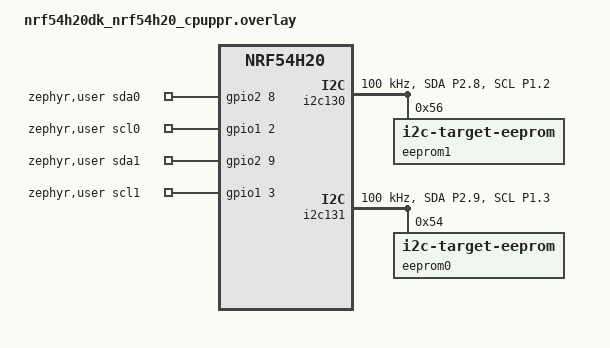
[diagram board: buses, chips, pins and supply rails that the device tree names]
/*
 * Copyright (c) 2025 Nordic Semiconductor ASA
 *
 * SPDX-License-Identifier: Apache-2.0
 */

/*
 * SDA = P2.8 and P2.9
 * SCL = P1.2 and P1.3
 */

/ {
	zephyr,user {
		sda0-gpios = <&gpio2 8 0>;
		scl0-gpios = <&gpio1 2 0>;
		sda1-gpios = <&gpio2 9 0>;
		scl1-gpios = <&gpio1 3 0>;
	};
};

&gpio1 {
	status = "okay";
};

&gpio2 {
	status = "okay";
};

&pinctrl {
	i2c130_default: i2c130_default {
		group1 {
			psels = <NRF_PSEL(TWIM_SDA, 2, 8)>,
				<NRF_PSEL(TWIM_SCL, 1, 2)>;
			bias-pull-up;
		};
	};

	i2c130_sleep: i2c130_sleep {
		group1 {
			psels = <NRF_PSEL(TWIM_SDA, 2, 8)>,
				<NRF_PSEL(TWIM_SCL, 1, 2)>;
			low-power-enable;
		};
	};

	i2c131_default: i2c131_default {
		group1 {
			psels = <NRF_PSEL(TWIM_SDA, 2, 9)>,
				<NRF_PSEL(TWIM_SCL, 1, 3)>;
			bias-pull-up;
		};
	};

	i2c131_sleep: i2c131_sleep {
		group1 {
			psels = <NRF_PSEL(TWIM_SDA, 2, 9)>,
				<NRF_PSEL(TWIM_SCL, 1, 3)>;
			low-power-enable;
		};
	};
};

&i2c130 {
	clock-frequency = <I2C_BITRATE_STANDARD>;
	pinctrl-0 = <&i2c130_default>;
	pinctrl-1 = <&i2c130_sleep>;
	pinctrl-names = "default", "sleep";
	zephyr,concat-buf-size = <256>;
	status = "okay";

	eeprom1: eeprom@56 {
		compatible = "zephyr,i2c-target-eeprom";
		reg = <0x56>;
		address-width = <8>;
		size = <256>;
	};
};

&i2c131 {
	compatible = "nordic,nrf-twis";
	clock-frequency = <I2C_BITRATE_STANDARD>;
	pinctrl-0 = <&i2c131_default>;
	pinctrl-1 = <&i2c131_sleep>;
	pinctrl-names = "default", "sleep";
	status = "okay";

	eeprom0: eeprom@54 {
		compatible = "zephyr,i2c-target-eeprom";
		reg = <0x54>;
		address-width = <8>;
		size = <256>;
	};
};

&gpiote130 {
	status = "okay";
};
